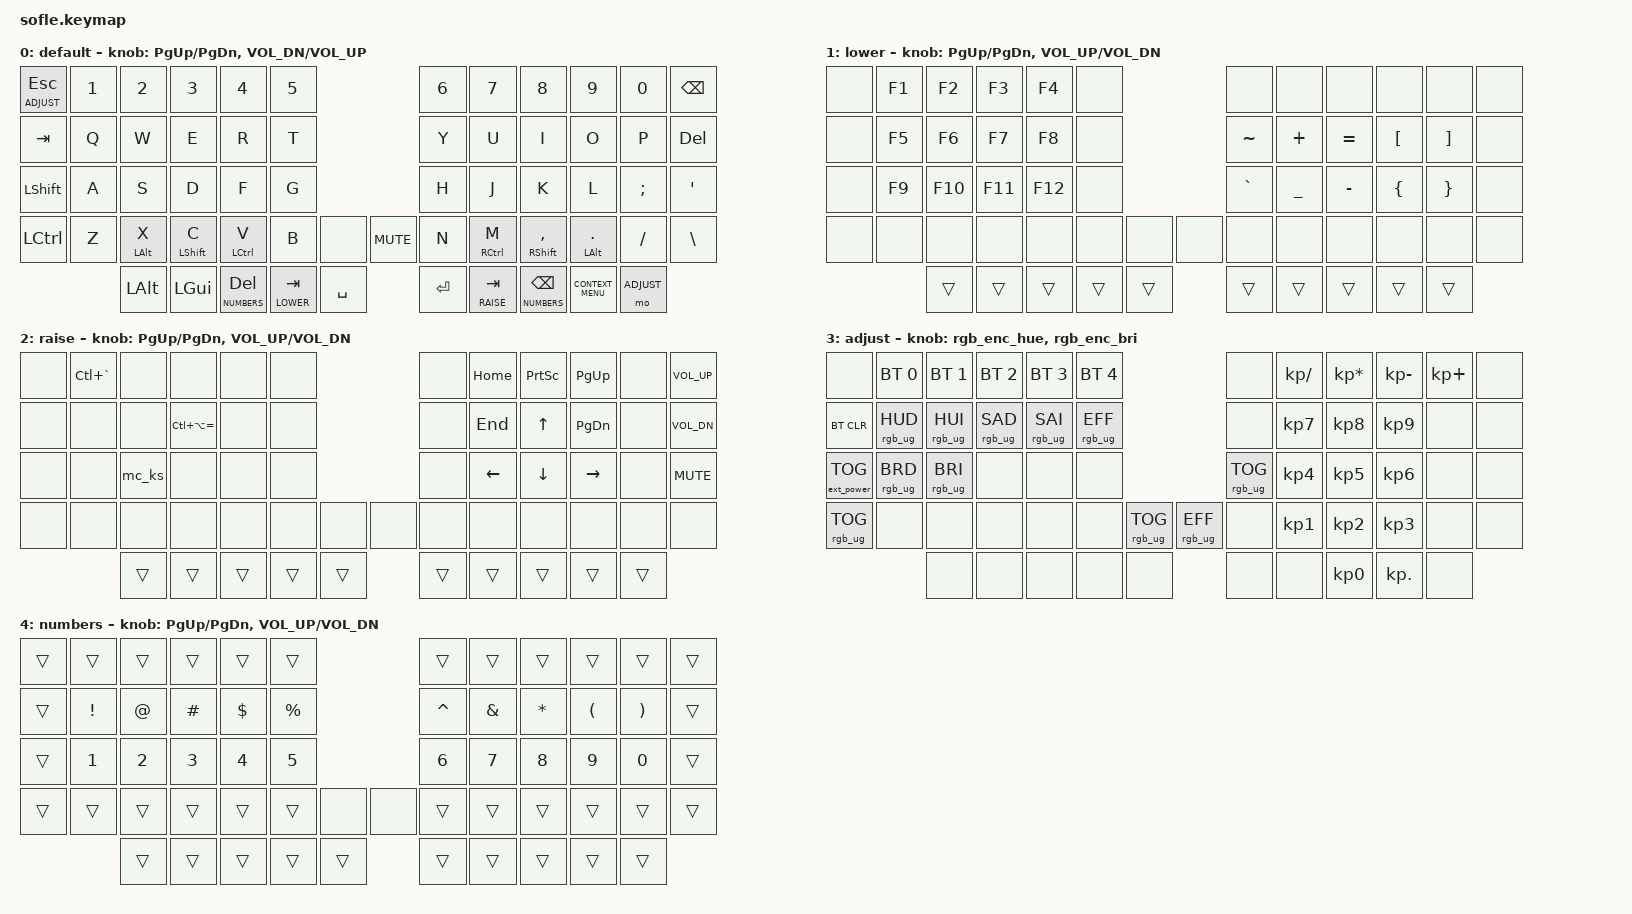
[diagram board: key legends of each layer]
/*
 * Copyright (c) 2020 The ZMK Contributors
 *
 * SPDX-License-Identifier: MIT
 */

#include <behaviors.dtsi>
#include <dt-bindings/zmk/keys.h>
#include <dt-bindings/zmk/bt.h>
#include <dt-bindings/zmk/rgb.h>
#include <dt-bindings/zmk/ext_power.h>

#define BASE   0
#define LOWER  1
#define RAISE  2
#define ADJUST  3
#define NUMBERS 4

/ {

    behaviors {
        num_lt: num_lt {
            compatible = "zmk,behavior-hold-tap";
            #binding-cells = <2>;
            flavor = "balanced";
            tapping-term-ms = <200>;
            quick-tap-ms = <200>;
            bindings = <&mo>, <&kp>;
        };

        mt_slow: mt_slow {
            compatible = "zmk,behavior-hold-tap";
            #binding-cells = <2>;
            flavor = "tap-preferred";
            tapping-term-ms = <250>;
            quick-tap-ms = <180>;
            bindings = <&kp>, <&kp>;
        };

        esc_adj: esc_adj {
            compatible = "zmk,behavior-hold-tap";
            #binding-cells = <2>;
            flavor = "balanced";
            tapping-term-ms = <200>;
            bindings = <&mo>, <&kp>;
        };

        rgb_enc_hue: rgb_enc_hue {
            compatible = "zmk,behavior-sensor-rotate";
            #sensor-binding-cells = <0>;
            bindings = <&rgb_ug RGB_HUD>, <&rgb_ug RGB_HUI>;
        };
        rgb_enc_bri: rgb_enc_bri {
            compatible = "zmk,behavior-sensor-rotate";
            #sensor-binding-cells = <0>;
            bindings = <&rgb_ug RGB_BRD>, <&rgb_ug RGB_BRI>;
        };
    };

    macros {
        mc_ks: mc_ks {
            compatible = "zmk,behavior-macro";
            #binding-cells = <0>;
            bindings
                = <&macro_press   &kp LCTRL>
                , <&macro_tap     &kp K>
                , <&macro_release &kp LCTRL>
                , <&macro_press   &kp LCTRL &kp LSHFT>
                , <&macro_tap     &kp S>
                , <&macro_release &kp LCTRL &kp LSHFT>
                ;
        };
    };

    keymap {
        compatible = "zmk,keymap";

        default_layer {
            display-name = "default";
// ╭──────────────┬──────────┬──────────┬──────────┬──────────┬──────────╮                    ╭──────────┬──────────┬──────────┬──────────┬──────────┬──────────╮
// │  ESC/ADJUST  │    1     │    2     │    3     │    4     │    5     │                    │    6     │    7     │    8     │    9     │    0     │  BSPC    │
// │  TAB         │    Q     │    W     │    E     │    R     │    T     │                    │    Y     │    U     │    I     │    O     │    P     │  DEL     │
// │  SHIFT       │    A     │    S     │    D     │    F     │    G     │                    │    H     │    J     │    K     │    L     │    ;     │    '     │
// │  CTRL        │    Z     │  ALT/X   │  SHF/C   │  CTL/V   │    B     │  ENC   │   │  MUTE │    N     │  CTL/M   │  SHF/,   │  ALT/.   │    /     │    \     │
// ╰──────────────┴──────────┼──────────┼──────────┼──────────┼──────────┼────────╯   ╰───────┼──────────┼──────────┼──────────┼──────────┼──────────╯
//                           │   ALT    │   GUI    │ DEL/NUM  │TAB/LOWER │ SPACE  │   │ ENTER │TAB/RAISE │ BSPC/NUM │ CTX MENU │ ADJUST   │
//                           ╰──────────┴──────────┴──────────┴──────────┴────────╯   ╰───────┴──────────┴──────────┴──────────┴──────────╯
            bindings = <
&esc_adj ADJUST ESC    &kp N1  &kp N2       &kp N3        &kp N4        &kp N5                          &kp N6    &kp N7        &kp N8          &kp N9        &kp N0    &kp BSPC
&kp TAB             &kp Q   &kp W        &kp E         &kp R         &kp T                           &kp Y     &kp U         &kp I           &kp O         &kp P     &kp DEL
&kp LSHFT  &kp A   &kp S        &kp D         &kp F         &kp G                           &kp H     &kp J         &kp K           &kp L         &kp SEMI  &kp SQT
&kp LCTRL  &kp Z   &mt_slow LALT X   &mt_slow LSHFT C   &mt_slow LCTRL V   &kp B   &none       &kp C_MUTE  &kp N     &mt_slow RCTRL M   &mt_slow RSHFT COMMA &mt_slow LALT DOT  &kp FSLH  &kp BSLH
                   &kp LALT     &kp LGUI      &num_lt NUMBERS DEL &num_lt LOWER TAB &kp SPACE              &kp RET   &num_lt RAISE TAB &num_lt NUMBERS BSPC  &kp K_CONTEXT_MENU  &mo ADJUST
            >;

            sensor-bindings = <&inc_dec_kp PG_UP PG_DN &inc_dec_kp C_VOL_DN C_VOL_UP>;
        };

        lower_layer {
            display-name = "lower";
// ╭──────────┬──────────┬──────────┬──────────┬──────────┬──────────╮                    ╭──────────┬──────────┬──────────┬──────────┬──────────┬──────────╮
// │          │   F1     │   F2     │   F3     │   F4     │          │                    │          │          │          │          │          │          │
// │          │   F5     │   F6     │   F7     │   F8     │          │                    │    ~     │    +     │    =     │    [     │    ]     │          │
// │          │   F9     │   F10    │   F11    │   F12    │          │                    │    `     │    _     │    -     │    {     │    }     │          │
// │          │          │          │          │          │          │        │  │        │          │          │          │          │          │          │
// ╰──────────┴──────────┼──────────┼──────────┼──────────┼──────────┼────────╯  ╰────────┼──────────┼──────────┼──────────┼──────────┼──────────╯
//                       │  (trns)  │  (trns)  │  (trns)  │  (trns)  │ (trns) │  │ (trns) │  (trns)  │  (trns)  │  (trns)  │  (trns)  │
//                       ╰──────────┴──────────┴──────────┴──────────┴────────╯  ╰────────┴──────────┴──────────┴──────────┴──────────╯
            bindings = <
&none  &kp F1   &kp F2   &kp F3   &kp F4   &none                        &none        &none       &none       &none     &none     &none
&none  &kp F5   &kp F6   &kp F7   &kp F8   &none                        &kp TILDE    &kp PLUS    &kp EQUAL   &kp LBKT  &kp RBKT  &none
&none  &kp F9   &kp F10  &kp F11  &kp F12  &none                        &kp GRAVE    &kp UNDER   &kp MINUS   &kp LBRC  &kp RBRC  &none
&none  &none    &none    &none    &none    &none    &none     &none       &none        &none       &none       &none     &none     &none
                &trans   &trans   &trans   &trans   &trans                &trans       &trans      &trans      &trans    &trans
            >;

            sensor-bindings = <&inc_dec_kp PG_UP PG_DN &inc_dec_kp C_VOL_UP C_VOL_DN>;
        };

        raise_layer {
            display-name = "raise";
// ╭──────────┬──────────┬──────────┬──────────┬──────────┬──────────╮                    ╭──────────┬──────────┬──────────┬──────────┬──────────┬──────────╮
// │          │  CTRL+`  │          │          │          │          │                    │          │  HOME    │  PRTSCR  │  PG UP   │          │  VOL UP  │
// │          │          │          │ CA+=     │          │          │                    │          │  END     │    ↑     │  PG DN   │          │  VOL DN  │
// │          │          │  MC_KS   │          │          │          │                    │          │    ←     │    ↓     │    →     │          │  MUTE    │
// │          │          │          │          │          │          │        │  │        │          │          │          │          │          │          │
// ╰──────────┴──────────┼──────────┼──────────┼──────────┼──────────┼────────╯  ╰────────┼──────────┼──────────┼──────────┼──────────┼──────────╯
//                       │  (trns)  │  (trns)  │  (trns)  │  (trns)  │ (trns) │  │ (trns) │  (trns)  │  (trns)  │  (trns)  │  (trns)  │
//                       ╰──────────┴──────────┴──────────┴──────────┴────────╯  ╰────────┴──────────┴──────────┴──────────┴──────────╯
            bindings = <
&none  &kp LC(GRAVE)  &none    &none              &none   &none                    &none     &kp HOME  &kp PSCRN  &kp PG_UP  &none  &kp C_VOL_UP
&none  &none          &none    &kp LC(LA(EQUAL))  &none   &none                    &none     &kp END   &kp UP     &kp PG_DN  &none  &kp C_VOL_DN
&none  &none          &mc_ks   &none              &none   &none                    &none     &kp LEFT  &kp DOWN   &kp RIGHT  &none  &kp C_MUTE
&none  &none          &none    &none              &none   &none   &none   &none    &none     &none     &none      &none      &none  &none
                      &trans   &trans             &trans  &trans  &trans            &trans    &trans    &trans     &trans     &trans
            >;

            sensor-bindings = <&inc_dec_kp PG_UP PG_DN &inc_dec_kp C_VOL_UP C_VOL_DN>;
        };

        adjust_layer {
            display-name = "adjust";
// ╭──────────┬──────────┬──────────┬──────────┬──────────┬──────────╮                    ╭──────────┬──────────┬──────────┬──────────┬──────────┬──────────╮
// │          │  BT 1    │  BT 2    │  BT 3    │  BT 4    │  BT 5    │                    │          │  KP /    │  KP *    │  KP -    │  KP +    │          │
// │  BT CLR  │  RGB H-  │  RGB H+  │  RGB S-  │  RGB S+  │ RGB EFF  │                    │          │  KP 7    │  KP 8    │  KP 9    │          │          │
// │  EXT PWR │  RGB B-  │  RGB B+  │          │          │          │                    │          │  KP 4    │  KP 5    │  KP 6    │          │          │
// │          │          │          │          │          │          │RGB TOG │  │RGB EFF │          │  KP 1    │  KP 2    │  KP 3    │          │          │
// ╰──────────┴──────────┼──────────┼──────────┼──────────┼──────────┼────────╯  ╰────────┼──────────┼──────────┼──────────┼──────────┼──────────╯
//                       │          │          │          │          │        │  │        │          │  KP 0    │  KP .    │          │
//                       ╰──────────┴──────────┴──────────┴──────────┴────────╯  ╰────────┴──────────┴──────────┴──────────┴──────────╯
// Encoders: left = hue-/hue+   right = brightness-/brightness+
            bindings = <
&none              &bt BT_SEL 0     &bt BT_SEL 1     &bt BT_SEL 2     &bt BT_SEL 3     &bt BT_SEL 4                              &none  &kp KP_SLASH  &kp KP_MULTIPLY  &kp KP_MINUS  &kp KP_PLUS  &none
&bt BT_CLR         &rgb_ug RGB_HUD  &rgb_ug RGB_HUI  &rgb_ug RGB_SAD  &rgb_ug RGB_SAI  &rgb_ug RGB_EFF                           &none  &kp KP_N7     &kp KP_N8        &kp KP_N9     &none        &none
&ext_power EP_TOG  &rgb_ug RGB_BRD  &rgb_ug RGB_BRI  &none            &none            &none                                     &rgb_ug RGB_TOG  &kp KP_N4     &kp KP_N5        &kp KP_N6     &none        &none
&rgb_ug RGB_TOG    &none            &none            &none            &none            &none            &rgb_ug RGB_TOG  &rgb_ug RGB_EFF  &none  &kp KP_N1  &kp KP_N2  &kp KP_N3  &none  &none
                                    &none            &none            &none            &none            &none            &none    &none  &kp KP_N0  &kp KP_DOT  &none
            >;

            sensor-bindings = <&rgb_enc_hue &rgb_enc_bri>;
        };

        numbers_layer {
            display-name = "numbers";
// ╭──────────┬──────────┬──────────┬──────────┬──────────┬──────────╮                    ╭──────────┬──────────┬──────────┬──────────┬──────────┬──────────╮
// │          │          │          │          │          │          │                    │          │          │          │          │          │          │
// │          │    !     │    @     │    #     │    $     │    %     │                    │    ^     │    &     │    *     │    (     │    )     │          │
// │          │    1     │    2     │    3     │    4     │    5     │                    │    6     │    7     │    8     │    9     │    0     │          │
// │          │          │          │          │          │          │        │  │        │          │          │          │          │          │          │
// ╰──────────┴──────────┼──────────┼──────────┼──────────┼──────────┼────────╯  ╰────────┼──────────┼──────────┼──────────┼──────────┼──────────╯
//                       │  (trns)  │  (trns)  │  (trns)  │  (trns)  │ (trns) │  │ (trns) │  (trns)  │  (trns)  │  (trns)  │  (trns)  │
//                       ╰──────────┴──────────┴──────────┴──────────┴────────╯  ╰────────┴──────────┴──────────┴──────────┴──────────╯
            bindings = <
&trans  &trans    &trans  &trans    &trans    &trans                           &trans     &trans    &trans    &trans    &trans    &trans
&trans  &kp EXCL  &kp AT  &kp HASH  &kp DLLR  &kp PRCNT                        &kp CARET  &kp AMPS  &kp STAR  &kp LPAR  &kp RPAR  &trans
&trans  &kp N1    &kp N2  &kp N3    &kp N4    &kp N5                           &kp N6     &kp N7    &kp N8    &kp N9    &kp N0    &trans
&trans  &trans    &trans  &trans    &trans    &trans    &none       &none      &trans     &trans    &trans    &trans    &trans    &trans
                  &trans  &trans    &trans    &trans    &trans                 &trans     &trans    &trans    &trans    &trans
            >;

            sensor-bindings = <&inc_dec_kp PG_UP PG_DN &inc_dec_kp C_VOL_UP C_VOL_DN>;
        };

};
};
